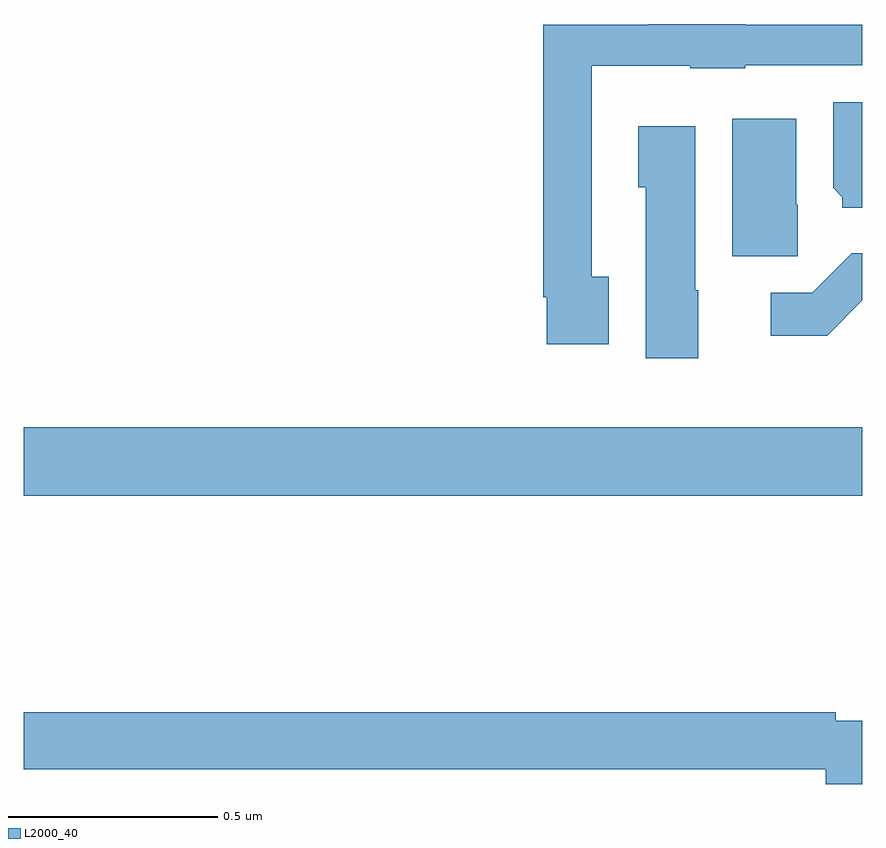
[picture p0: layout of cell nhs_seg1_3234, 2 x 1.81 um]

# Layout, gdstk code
import gdstk
lib = gdstk.Library(unit=1e-6, precision=1e-09)
def R(c, l, rs):  # rectangles x0, y0, x1, y1
    for r in rs: c.add(gdstk.rectangle(r[:2], r[2:], *l))
def P(c, l, *ps):  # polygons
    for p in ps: c.add(gdstk.Polygon(p, *l))
L2000_40 = (2000, 40)

nhs_seg1_3234 = lib.new_cell('nhs_seg1_3234')
R(nhs_seg1_3234, L2000_40, [(151,557.06,153,557.224)])
P(nhs_seg1_3234, L2000_40, [(152.395,557.582),(152.355,557.582),(152.355,558.086),(152.589,558.086),(152.589,558.08),(152.721,558.08),(152.721,558.087),(153,558.087),(153,558.183),(152.721,558.183),(152.721,558.185),(152.489,558.185),(152.489,558.183),(152.239,558.183),(152.239,557.533),(152.247,557.533),(152.247,557.421),(152.395,557.421)],
  [(153,557.998),(152.93,557.998),(152.93,557.794),(152.952,557.772),(152.952,557.747),(153,557.747)],
  [(152.846,557.754),(152.842,557.754),(152.842,557.959),(152.69,557.959),(152.69,557.631),(152.846,557.631)],
  [(152.608,557.55),(152.602,557.55),(152.602,557.941),(152.465,557.941),(152.465,557.796),(152.483,557.796),(152.483,557.388),(152.608,557.388)],
  [(153,557.526),(153,557.638),(152.974,557.638),(152.88,557.544),(152.781,557.544),(152.781,557.442),(152.916,557.442)],
  [(153,556.524),(152.936,556.524),(152.936,556.544),(151,556.544),(151,556.408),(152.912,556.408),(152.912,556.373),(153,556.373)])

lib.write_gds('nhs_seg1_3234.gds')
